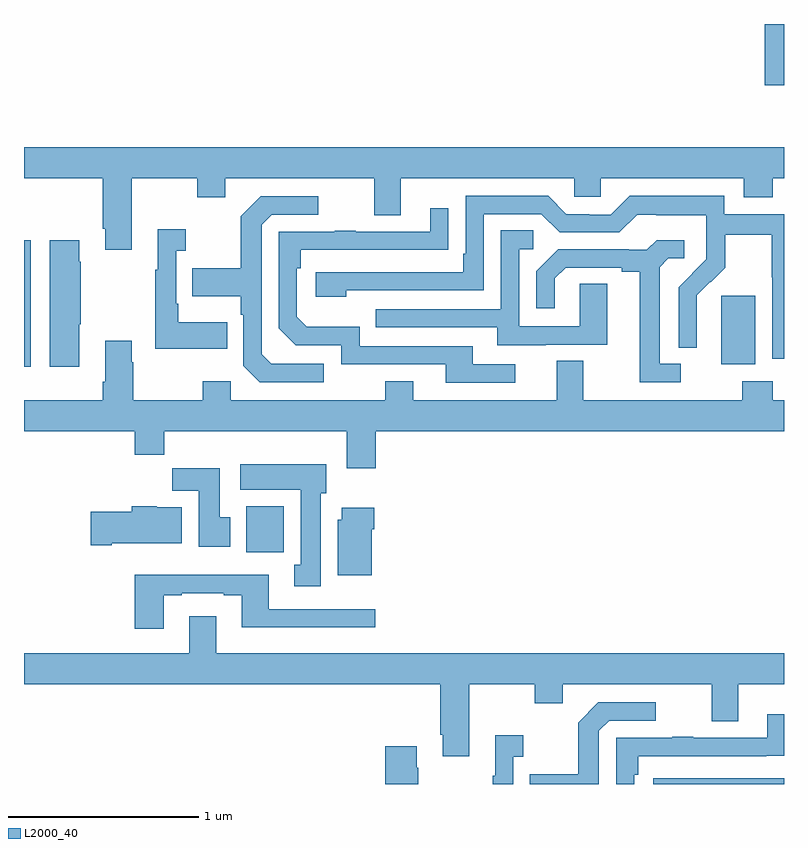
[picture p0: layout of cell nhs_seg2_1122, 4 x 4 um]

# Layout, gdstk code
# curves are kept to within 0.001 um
import gdstk
lib = gdstk.Library(unit=1e-6, precision=1e-09)
def R(c, l, rs):  # rectangles x0, y0, x1, y1
    for r in rs: c.add(gdstk.rectangle(r[:2], r[2:], *l))
def P(c, l, *ps):  # polygons
    for p in ps: c.add(gdstk.Polygon(p, *l))
L2000_40 = (2000, 40)

nhs_seg2_1122 = lib.new_cell('nhs_seg2_1122')
R(nhs_seg2_1122, L2000_40, [(172.311,625.8,173,625.83), (170.171,627.02,170.368,627.262), (169,627.996,169.036,628.663), (172.67,628.01,172.849,628.371), (172.898,629.478,173,629.8)])
P(nhs_seg2_1122, L2000_40, [(169.567,628.988),(169.912,628.988),(169.912,628.889),(170.059,628.889),(170.059,628.988),(170.843,628.988),(170.843,628.794),(170.983,628.794),(170.983,628.988),(171.897,628.988),(171.897,628.89),(172.035,628.89),(172.035,628.988),(172.787,628.988),(172.787,628.889),(172.94,628.889),(172.94,628.988),(173,628.988),(173,629.152),(169,629.152),(169,628.988),(169.415,628.988),(169.415,628.723),(169.427,628.723),(169.427,628.611),(169.567,628.611)],
  [(173,628.8),(172.686,628.8),(172.686,628.897),(172.189,628.897),(172.089,628.797),(171.974,628.797),(171.974,628.8),(171.855,628.8),(171.759,628.896),(171.324,628.896),(171.324,628.591),(171.311,628.591),(171.311,628.494),(170.535,628.494),(170.535,628.364),(170.696,628.364),(170.696,628.398),(171.42,628.398),(171.42,628.8),(171.723,628.8),(171.819,628.704),(172.134,628.704),(172.227,628.797),(172.327,628.797),(172.327,628.793),(172.59,628.793),(172.59,628.659),(172.592,628.659),(172.592,628.562),(172.446,628.414),(172.446,628.096),(172.542,628.096),(172.541,628.373),(172.611,628.443),(172.614,628.44),(172.691,628.517),(172.691,628.692),(172.936,628.692),(172.936,628.468),(172.938,628.468),(172.938,628.039),(173,628.039)],
  [(170.578,628.011),(170.301,628.011),(170.25,628.062),(170.25,628.743),(170.304,628.797),(170.548,628.797),(170.548,628.893),(170.247,628.893),(170.142,628.787),(170.142,628.515),(169.885,628.515),(169.885,628.367),(170.142,628.367),(170.142,628.271),(170.154,628.271),(170.154,628.002),(170.241,627.915),(170.578,627.915)],
  [(171.586,628.008),(171.361,628.008),(171.361,628.104),(170.766,628.104),(170.766,628.207),(170.489,628.207),(170.436,628.26),(170.436,628.514),(170.456,628.514),(170.456,628.611),(171.233,628.612),(171.233,628.831),(171.137,628.831),(171.137,628.707),(170.747,628.707),(170.747,628.712),(170.635,628.712),(170.635,628.707),(170.34,628.707),(170.34,628.2),(170.43,628.11),(170.67,628.11),(170.67,628.008),(171.221,628.008),(171.221,627.912),(171.586,627.912)],
  [(170.069,628.231),(169.813,628.231),(169.813,628.327),(169.8,628.327),(169.8,628.607),(169.852,628.607),(169.852,628.72),(169.703,628.72),(169.703,628.507),(169.692,628.507),(169.692,628.091),(170.069,628.091)],
  [(171.745,628.113),(172.069,628.113),(172.069,628.433),(171.924,628.433),(171.924,628.209),(171.606,628.209),(171.606,628.614),(171.679,628.614),(171.679,628.715),(171.51,628.715),(171.51,628.299),(170.851,628.299),(170.851,628.203),(171.491,628.203),(171.491,628.109),(171.745,628.109)],
  [(172.456,628.011),(172.345,628.011),(172.345,628.519),(172.392,628.566),(172.474,628.566),(172.474,628.663),(172.33,628.663),(172.278,628.611),(172.184,628.611),(172.184,628.614),(171.812,628.614),(171.696,628.498),(171.696,628.305),(171.793,628.305),(171.793,628.461),(171.85,628.518),(172.145,628.518),(172.145,628.496),(172.241,628.496),(172.241,627.915),(172.456,627.915)],
  [(169.291,628.219),(169.299,628.219),(169.299,628.55),(169.291,628.55),(169.291,628.663),(169.136,628.663),(169.136,627.996),(169.291,627.996)],
  [(170.852,627.656),(173,627.656),(173,627.82),(172.94,627.82),(172.94,627.919),(172.78,627.919),(172.78,627.82),(171.943,627.82),(171.943,628.028),(171.803,628.028),(171.803,627.82),(171.049,627.82),(171.049,627.919),(170.902,627.919),(170.902,627.82),(170.088,627.82),(170.088,627.919),(169.942,627.919),(169.942,627.82),(169.575,627.82),(169.575,628.019),(169.567,628.019),(169.567,628.132),(169.427,628.132),(169.427,627.916),(169.415,627.916),(169.415,627.82),(169,627.82),(169,627.656),(169.583,627.656),(169.583,627.532),(169.739,627.532),(169.739,627.656),(170.699,627.656),(170.699,627.462),(170.852,627.462)],
  [(170.563,627.33),(170.59,627.33),(170.59,627.484),(170.139,627.484),(170.139,627.35),(170.456,627.35),(170.456,626.954),(170.423,626.954),(170.423,626.841),(170.563,626.841)],
  [(170.086,627.204),(170.029,627.204),(170.029,627.463),(169.78,627.463),(169.78,627.344),(169.919,627.344),(169.919,627.048),(170.086,627.048)],
  [(169.462,627.068),(169.831,627.068),(169.831,627.256),(169.698,627.256),(169.698,627.262),(169.568,627.262),(169.568,627.234),(169.35,627.234),(169.35,627.056),(169.462,627.056)],
  [(170.83,627.14),(170.843,627.14),(170.843,627.253),(170.672,627.253),(170.672,627.192),(170.651,627.192),(170.651,626.9),(170.83,626.9)],
  [(169.735,626.793),(169.831,626.793),(169.831,626.805),(170.051,626.805),(170.051,626.793),(170.147,626.793),(170.147,626.624),(170.848,626.624),(170.848,626.721),(170.287,626.721),(170.287,626.902),(169.583,626.902),(169.583,626.616),(169.735,626.616)],
  [(171.343,626.324),(171.688,626.324),(171.688,626.225),(171.835,626.225),(171.835,626.324),(172.619,626.324),(172.619,626.13),(172.759,626.13),(172.759,626.324),(173,626.324),(173,626.488),(170.011,626.488),(170.011,626.683),(169.871,626.683),(169.871,626.488),(169,626.488),(169,626.324),(171.191,626.324),(171.191,626.059),(171.203,626.059),(171.203,625.947),(171.343,625.947)],
  [(172.026,626.079),(172.08,626.133),(172.324,626.133),(172.324,626.229),(172.023,626.229),(171.918,626.123),(171.918,625.851),(171.661,625.851),(171.661,625.8),(172.026,625.8)],
  [(172.212,625.85),(172.232,625.85),(172.232,625.947),(172.907,625.947),(172.907,625.948),(173,625.948),(173,626.167),(172.913,626.167),(172.913,626.043),(172.523,626.043),(172.523,626.048),(172.411,626.048),(172.411,626.043),(172.116,626.043),(172.116,625.8),(172.212,625.8)],
  [(171.576,625.943),(171.628,625.943),(171.628,626.056),(171.479,626.056),(171.479,625.843),(171.468,625.843),(171.468,625.8),(171.576,625.8)],
  [(171.075,625.886),(171.067,625.886),(171.067,625.999),(170.9,625.999),(170.9,625.8),(171.075,625.8)])

lib.write_gds('nhs_seg2_1122.gds')
